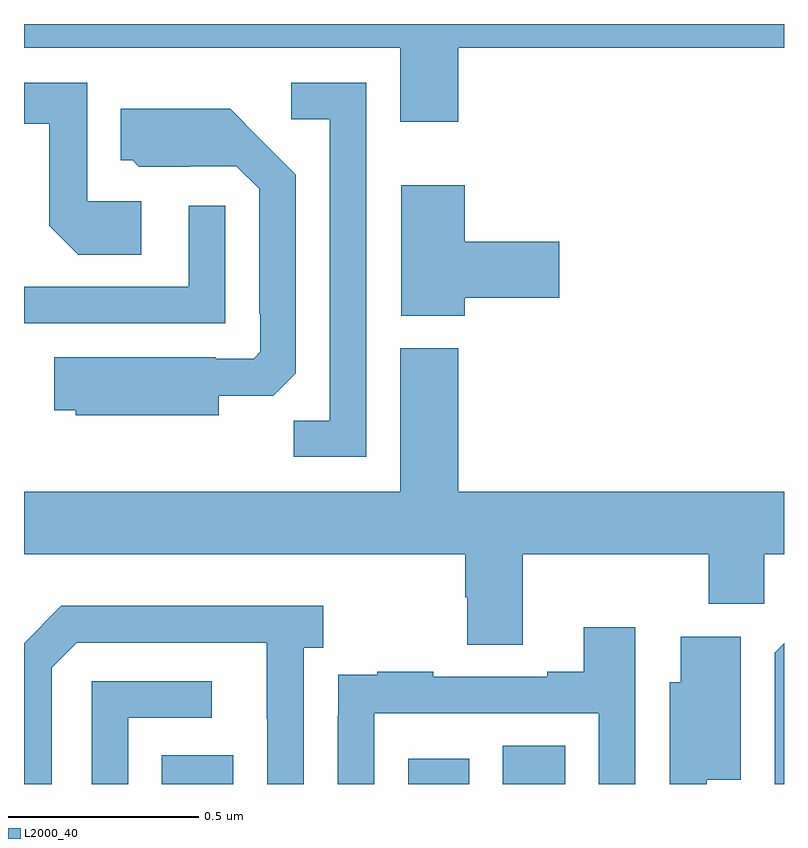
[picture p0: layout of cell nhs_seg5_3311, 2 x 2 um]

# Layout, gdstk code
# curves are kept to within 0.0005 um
import gdstk
lib = gdstk.Library(unit=1e-6, precision=1e-09)
def R(c, l, rs):  # rectangles x0, y0, x1, y1
    for r in rs: c.add(gdstk.rectangle(r[:2], r[2:], *l))
def P(c, l, *ps):  # polygons
    for p in ps: c.add(gdstk.Polygon(p, *l))
L2000_40 = (2000, 40)

nhs_seg5_3311 = lib.new_cell('nhs_seg5_3311')
R(nhs_seg5_3311, L2000_40, [(155.363,878.799,155.551,878.875), (156.011,878.799,156.172,878.866), (156.26,878.799,156.424,878.9)])
P(nhs_seg5_3311, L2000_40, [(156.143,880.736),(157,880.736),(157,880.799),(155,880.799),(155,880.736),(155.99,880.736),(155.99,880.542),(156.143,880.542)],
  [(155.308,880.332),(155.166,880.332),(155.166,880.644),(155,880.644),(155,880.536),(155.067,880.536),(155.067,880.268),(155.143,880.192),(155.308,880.192)],
  [(155.901,880.644),(155.703,880.644),(155.703,880.548),(155.805,880.548),(155.805,879.755),(155.71,879.755),(155.71,879.66),(155.901,879.66)],
  [(155.512,879.821),(155.656,879.821),(155.715,879.88),(155.715,880.402),(155.543,880.576),(155.255,880.576),(155.255,880.44),(155.286,880.44),(155.302,880.424),(155.436,880.424),(155.436,880.425),(155.559,880.425),(155.619,880.365),(155.619,880.036),(155.622,880.036),(155.622,879.936),(155.604,879.918),(155.504,879.918),(155.504,879.922),(155.08,879.922),(155.08,879.782),(155.136,879.782),(155.136,879.77),(155.512,879.77)],
  [(156.16,880.079),(156.409,880.079),(156.409,880.226),(156.16,880.226),(156.16,880.375),(155.993,880.375),(155.993,880.031),(156.16,880.031)],
  [(155.529,880.321),(155.433,880.321),(155.433,880.107),(155,880.107),(155,880.011),(155.529,880.011)],
  [(156.313,879.404),(156.802,879.404),(156.802,879.273),(156.948,879.273),(156.948,879.404),(157,879.404),(157,879.568),(156.143,879.568),(156.143,879.946),(155.99,879.946),(155.99,879.568),(155,879.568),(155,879.404),(156.161,879.404),(156.161,879.291),(156.166,879.291),(156.166,879.166),(156.313,879.166)],
  [(155.073,879.105),(155.139,879.171),(155.639,879.171),(155.639,878.971),(155.64,878.971),(155.64,878.799),(155.736,878.799),(155.736,879.158),(155.788,879.158),(155.788,879.268),(155.098,879.268),(155,879.17),(155,878.799),(155.073,878.799)],
  [(155.922,878.985),(156.513,878.985),(156.513,878.799),(156.609,878.799),(156.609,879.211),(156.473,879.211),(156.473,879.094),(156.377,879.094),(156.377,879.081),(156.077,879.081),(156.077,879.094),(155.929,879.094),(155.929,879.087),(155.827,879.087),(155.827,878.978),(155.826,878.978),(155.826,878.799),(155.922,878.799)],
  [(156.797,878.81),(156.886,878.81),(156.886,879.187),(156.728,879.187),(156.728,879.067),(156.699,879.067),(156.699,878.799),(156.797,878.799)],
  [(157,879.17),(156.975,879.145),(156.975,878.799),(157,878.799)],
  [(155.274,878.973),(155.494,878.973),(155.494,879.069),(155.178,879.069),(155.178,878.799),(155.274,878.799)])

lib.write_gds('nhs_seg5_3311.gds')
